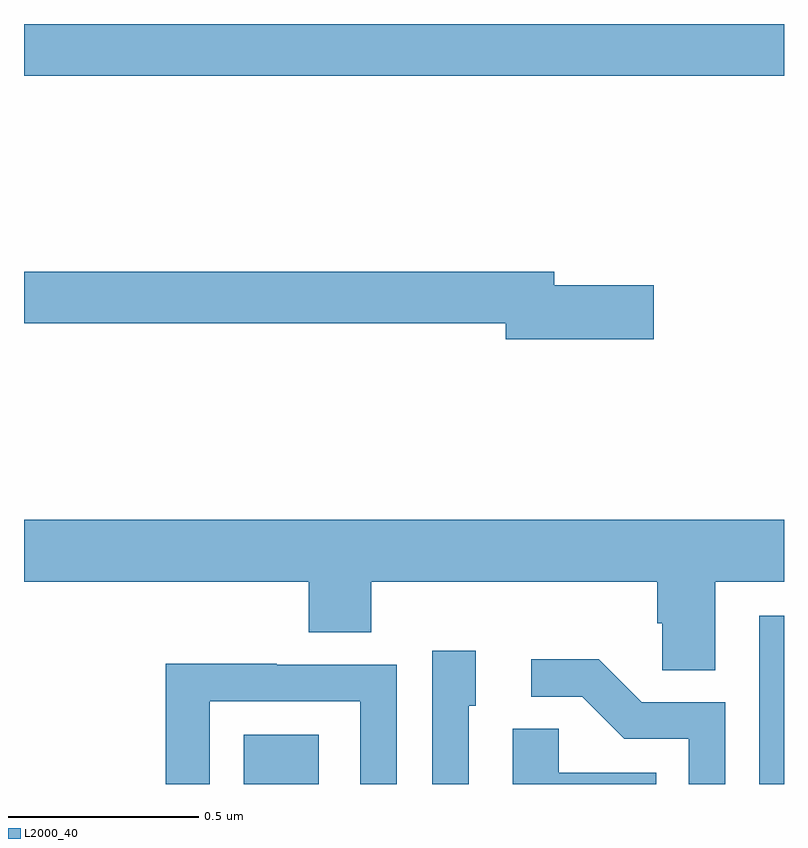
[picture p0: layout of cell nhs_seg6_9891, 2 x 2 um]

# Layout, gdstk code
import gdstk
lib = gdstk.Library(unit=1e-6, precision=1e-09)
def R(c, l, rs):  # rectangles x0, y0, x1, y1
    for r in rs: c.add(gdstk.rectangle(r[:2], r[2:], *l))
def P(c, l, *ps):  # polygons
    for p in ps: c.add(gdstk.Polygon(p, *l))
L2000_40 = (2000, 40)

nhs_seg6_9891 = lib.new_cell('nhs_seg6_9891')
R(nhs_seg6_9891, L2000_40, [(240.578,917.5,240.775,917.629), (241.935,917.5,242,917.943), (240,919.364,242,919.5)])
P(nhs_seg6_9891, L2000_40, [(241.657,918.812),(241.396,918.812),(241.396,918.848),(240,918.848),(240,918.712),(241.268,918.712),(241.268,918.67),(241.657,918.67)],
  [(241.819,918.032),(242,918.032),(242,918.196),(240,918.196),(240,918.032),(240.749,918.032),(240.749,917.899),(240.914,917.899),(240.914,918.032),(241.667,918.032),(241.667,917.923),(241.68,917.923),(241.68,917.8),(241.819,917.8)],
  [(241.17,917.706),(241.189,917.706),(241.189,917.851),(241.074,917.851),(241.074,917.5),(241.17,917.5)],
  [(241.845,917.715),(241.626,917.715),(241.513,917.828),(241.335,917.828),(241.335,917.73),(241.469,917.73),(241.58,917.619),(241.749,917.619),(241.749,917.5),(241.845,917.5)],
  [(240.489,917.718),(240.885,917.718),(240.885,917.5),(240.981,917.5),(240.981,917.814),(240.665,917.814),(240.665,917.816),(240.373,917.816),(240.373,917.5),(240.489,917.5)],
  [(241.664,917.53),(241.407,917.53),(241.407,917.645),(241.286,917.645),(241.286,917.5),(241.664,917.5)])

lib.write_gds('nhs_seg6_9891.gds')
